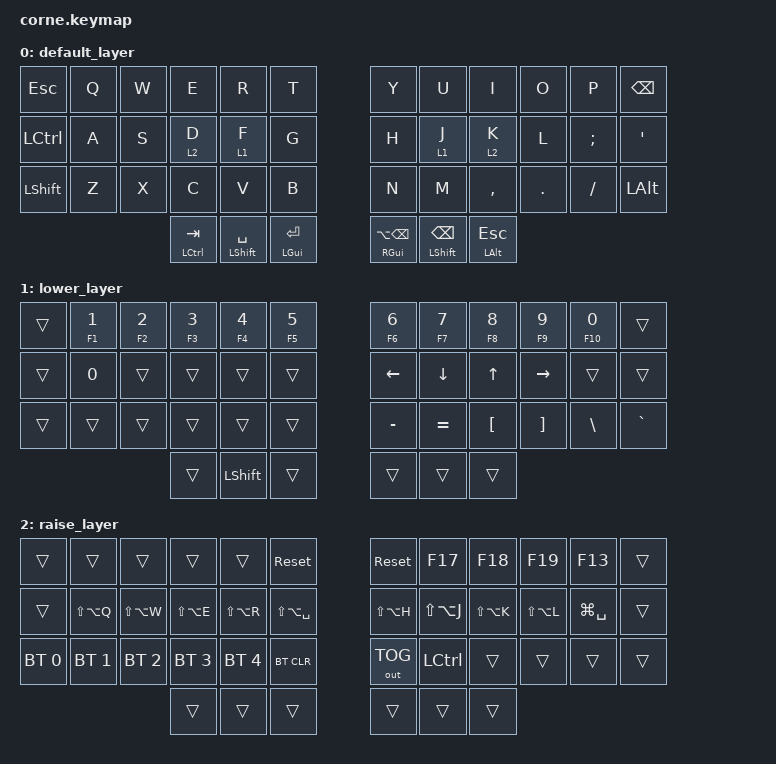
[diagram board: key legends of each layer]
/*
 * Copyright (c) 2020 The ZMK Contributors
 *
 * SPDX-License-Identifier: MIT
 */
// #define HOST_OS 1  // set to 1 for Linux, default is 0 (Windows)
#define HOST_OS 2  // set to 2 for macOS/Windows-Alt-Codes, default is 0 (Windows)

#include <behaviors.dtsi>
#include <dt-bindings/zmk/bt.h>
#include <dt-bindings/zmk/keys.h>
#include <dt-bindings/zmk/outputs.h>


/ {
    macros {
    };

    combos {
        compatible = "zmk,combos";

        new_combo {
            bindings = <&trans>;
            key-positions = <>;
        };
    };

    behaviors {
        hm: homerow_mods {
            compatible = "zmk,behavior-hold-tap";
            label = "HOMEROW_MODS";
            #binding-cells = <2>;
            tapping-term-ms = <150>;
            quick-tap-ms = <0>;
            flavor = "tap-preferred";
            bindings = <&kp>, <&kp>;
        };
    };
    // interstingly the O column buggs on usb connection and not on bluetooth
    // rebuild
    keymap {
        compatible = "zmk,keymap";

        default_layer {
            bindings = <
            // ├─────────├─────────┼─────────┼─────────┼─────────┼─────────┤   ├─────────├─────────┼─────────┼─────────┼─────────┼─────────┤
                &kp ESC   &kp Q     &kp W     &kp E     &kp R         &kp T     &kp Y     &kp U     &kp I     &kp O     &kp P     &kp BSPC
            // ├─────────├─────────┼─────────┼─────────┼─────────┼─────────┤   ├─────────├─────────┼─────────┼─────────┼─────────┼─────────┤
                &kp LCTRL &kp A     &kp S     &lt 2 D   &lt 1 F       &kp G     &kp H     &lt 1 J   &lt 2 K   &kp L     &kp SEMI  &kp SQT
            // ├─────────├─────────┼─────────┼─────────┼─────────┼─────────┤   ├─────────├─────────┼─────────┼─────────┼─────────┼─────────┤
                &kp LSHFT &kp Z     &kp X     &kp C     &kp V         &kp B     &kp N     &kp M     &kp COMMA &kp DOT   &kp FSLH  &kp LEFT_ALT
            // ├─────────├─────────┼─────────┼─────────┼─────────┼─────────┤   ├─────────├─────────┼─────────┼─────────┼─────────┼─────────┤
                                &hm LCTRL TAB &hm LSHFT SPACE &hm LGUI RET     &hm RGUI LA(BSPC) &hm LSHFT BSPC   &hm LEFT_ALT ESC
            //                 ╰──────────────┴─────────────┴──────────────╯   ╰───────────────┴────────────────┴───────────────╯
            >;
        };
        // TODO add Mac Umlaute with Option + u + a/o/u
        lower_layer {
            // Numbers have a hold behavior like F1 and a tab behavior
            bindings = <
            // ├─────────├─────────┼─────────┼─────────┼─────────┼─────────┤   ├─────────├─────────┼─────────┼─────────┼─────────┼─────────┤
                &trans    &mt F1 N1 &mt F2 N2 &mt F3 N3 &mt F4 N4 &mt F5 N5     &mt F6 N6 &mt F7 N7 &mt F8 N8 &mt F9 N9 &mt F10 N0 &trans
            // ├─────────├─────────┼─────────┼─────────┼─────────┼─────────┤   ├─────────├─────────┼─────────┼─────────┼─────────┼─────────┤
                &trans    &kp N0    &trans    &trans    &trans    &trans        &kp LEFT  &kp DOWN  &kp UP    &kp RIGHT &trans    &trans
            // ├─────────├─────────┼─────────┼─────────┼─────────┼─────────┤   ├─────────├─────────┼─────────┼─────────┼─────────┼─────────┤
                &trans    &trans    &trans    &trans    &trans    &trans        &kp MINUS &kp EQUAL &kp LBKT  &kp RBKT  &kp BSLH  &kp GRAVE
            // ├─────────├─────────┼─────────┼─────────┼─────────┼─────────┤   ├─────────├─────────┼─────────┼─────────┼─────────┼─────────┤
                                              &trans    &kp LSHFT &trans        &trans    &trans     &trans
            >;
        };

        raise_layer {
            // Basically my screen modifier keys
            // Left Focus screen. With ctrl (right) to move window to this screen
            // on the right we have window switching middle row and resizing
            // roght top row is desktop selection
            bindings = <
            // ├─────────├─────────────┼─────────────┼─────────────┼─────────────┼─────────────┤   ├─────────────├─────────────┼─────────────┼─────────────┼─────────────┼─────────┤
                &trans    &trans        &trans        &trans        &trans        &sys_reset        &sys_reset       &kp F17       &kp F18       &kp F19       &kp F13       &trans
            // ├─────────├─────────────┼─────────────┼─────────────┼─────────────┼─────────────┤   ├─────────────├─────────────┼─────────────┼─────────────┼─────────────┼─────────┤
                &trans    &kp LS(LA(Q)) &kp LS(LA(W)) &kp LS(LA(E)) &kp LS(LA(R)) &kp LS(LA(SPACE)) &kp LS(LA(H)) &kp LS(LA(J)) &kp LS(LA(K)) &kp LS(LA(L)) &kp LG(SPACE) &trans
            // ├─────────├─────────────┼─────────────┼─────────────┼─────────────┼─────────────┤   ├─────────────├─────────────┼─────────────┼─────────────┼─────────────┼─────────┤
              &bt BT_SEL 0 &bt BT_SEL 1 &bt BT_SEL 2  &bt BT_SEL 3  &bt BT_SEL 4  &bt BT_CLR        &out OUT_TOG  &kp LCTRL     &trans        &trans        &trans        &trans
            // ├─────────├─────────────┼─────────────┼─────────────┼─────────────┼─────────────┤   ├─────────────├─────────────┼─────────────┼─────────────┼─────────────┼─────────┤
                                                      &trans        &trans        &trans            &trans        &trans        &trans
            >;
        };


    };
};
